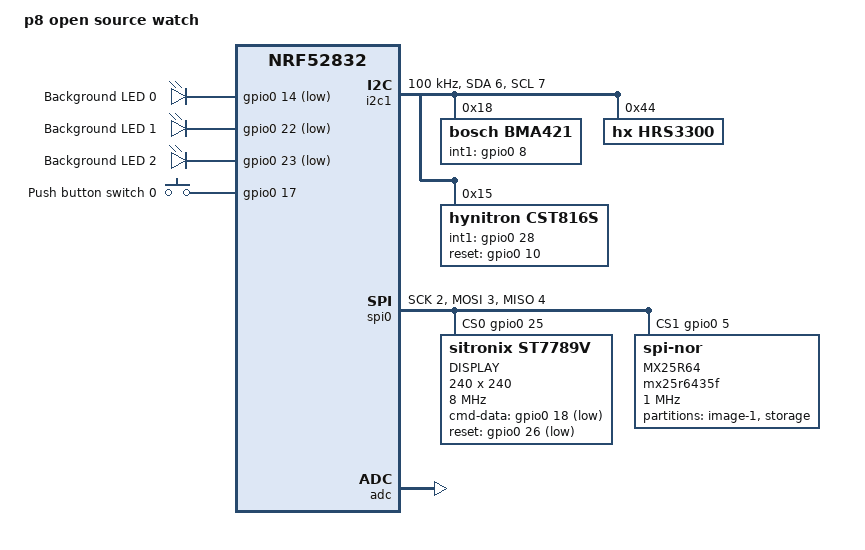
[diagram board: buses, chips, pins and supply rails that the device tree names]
/*
 * Copyright (c) 2018 Zelin <zelin@makerdiary.com>
 * Copyright (c) 2018 makerdiary.com.
 *
 * SPDX-License-Identifier: Apache-2.0
 */

/dts-v1/;
#include <nordic/nrf52832_qfaa.dtsi>

/ {
	model = "p8 open source watch";
	compatible = "nrf52832";

	chosen {
		zephyr,sram = &sram0;
		zephyr,console = &uart0;
		// zephyr,shell-uart = &uart0;
		//zephyr,uart-mcumgr = &uart0;
		//zephyr,bt-mon-uart = &uart0;
		//zephyr,bt-c2h-uart = &uart0;
		zephyr,flash = &flash0;
		//zephyr,flash = &mx25r64;
		zephyr,code-partition = &slot0_partition;
	};

	leds {
		compatible = "gpio-leds";
		led0_green: led_0 {
			gpios = <&gpio0 14 GPIO_ACTIVE_LOW>;
			label = "Background LED 0";
		};
		led1_red: led_1 {
			gpios = <&gpio0 22 GPIO_ACTIVE_LOW>;
			label = "Background LED 1";
		};
		led2_blue: led_2 {
			gpios = <&gpio0 23 GPIO_ACTIVE_LOW>;
			label = "Background LED 2";
		};
	};

	buttons {
		compatible = "gpio-keys";
		button0: button_0 {
			gpios = <&gpio0 17 0>;
			label = "Push button switch 0";
		};
	};

	/* These aliases are provided for compatibility with samples */
	aliases {
		sw0 = &button0;
		led0 = &led0_green;
		led1 = &led1_red;
		led2 = &led2_blue;
		led0-green = &led0_green;
		led1-red   = &led1_red;
		led2-blue  = &led2_blue;
	};
};

&gpiote {
	status = "okay";
};

&gpio0 {
	status = "okay";
};

&i2c1 {
	compatible = "nordic,nrf-twi";
	status = "okay";
	sda-pin = <6>;
	scl-pin = <7>;
	clock-frequency = <100000>;
	bma421@18 {
		compatible = "bosch,bma421";
		reg=<0x18>;
		label="BMA421";
		int1-gpios = <&gpio0 8 0>;
	};
	hrs3300@44 {
		compatible = "hx,hrs3300";
		reg = <0x44>;
		label = "HRS3300";
	};
	cst816s@15 {
		compatible = "hynitron,cst816s";
		label = "CST816S";
		reg = <0x15>;
		int1-gpios = <&gpio0 28 0>;
		reset-gpios = <&gpio0 10 0>;
	};
};

&spi0 {
	compatible = "nordic,nrf-spi";
	status = "okay";
	sck-pin = <2>;
	mosi-pin = <3>;
	miso-pin = <4>;
	cs-gpios = <&gpio0 25 0>,<&gpio0 5 0>;
	st7789v@0 {
		compatible = "sitronix,st7789v";
		label = "DISPLAY";
		spi-max-frequency = <8000000>;
		reg = <0>;
		cmd-data-gpios = <&gpio0 18 GPIO_ACTIVE_LOW>;
		reset-gpios = <&gpio0 26 GPIO_ACTIVE_LOW>;
		width = <240>;
		height = <240>;
		x-offset = <0>;
		y-offset = <0>;
		vcom = <0x19>;
		gctrl = <0x35>;
		vrhs = <0x12>;
		vdvs = <0x20>;
		mdac = <0x00>;
		gamma = <0x01>;
		colmod = <0x05>;
		lcm = <0x2c>;
		porch-param = [0c 0c 00 33 33];
		cmd2en-param = [5a 69 02 01];
		pwctrl1-param = [a4 a1];
		pvgam-param = [D0 04 0D 11 13 2B 3F 54 4C 18 0D 0B 1F 23];
		nvgam-param = [D0 04 0C 11 13 2C 3F 44 51 2F 1F 1F 20 23];
		ram-param = [00 F0];
		rgb-param = [CD 08 14];
	};

	flash1: mx25r6435f@1 {
		compatible = "jedec,spi-nor";
		reg = <1>;
		spi-max-frequency = <1000000>;
		label = "MX25R64";
		jedec-id = [0b 40 16];
		size = <67108864>;
		has-be32k;
	};
};

&flash0 {
	/*
	 * For more information, see:
	 * http://docs.zephyrproject.org/latest/guides/dts/index.html#flash-partitions
	 */
	partitions {
		compatible = "fixed-partitions";
		#address-cells = <1>;
		#size-cells = <1>;

		boot_partition: partition@0 {
			label = "mcuboot";
			reg = <0x00000000 0x8000>;
		};
		slot0_partition: partition@8000 {
			label = "image-0";
			reg = <0x00008000 0x74000>;
		};
		scratch_partition: partition@7C000 {
			label = "image-scratch";
			reg = <0x0007C000 0xA000>;
		};
	};
};

&flash1 {
	/*
	 * For more information, see:
	 * http://docs.zephyrproject.org/latest/guides/dts/index.html#flash-partitions
	 */
	partitions {
		compatible = "fixed-partitions";
		#address-cells = <1>;
		#size-cells = <1>;

		slot1_partition: partition@40000 {
			label = "image-1";
			reg = <0x00040000 0x74000>;
		};
		storage_partition: partition@b4000 {
			label = "storage";
			reg = <0x000b4000 0x0034c000>;
		};
	};
};

&adc {
	status = "okay";
};
